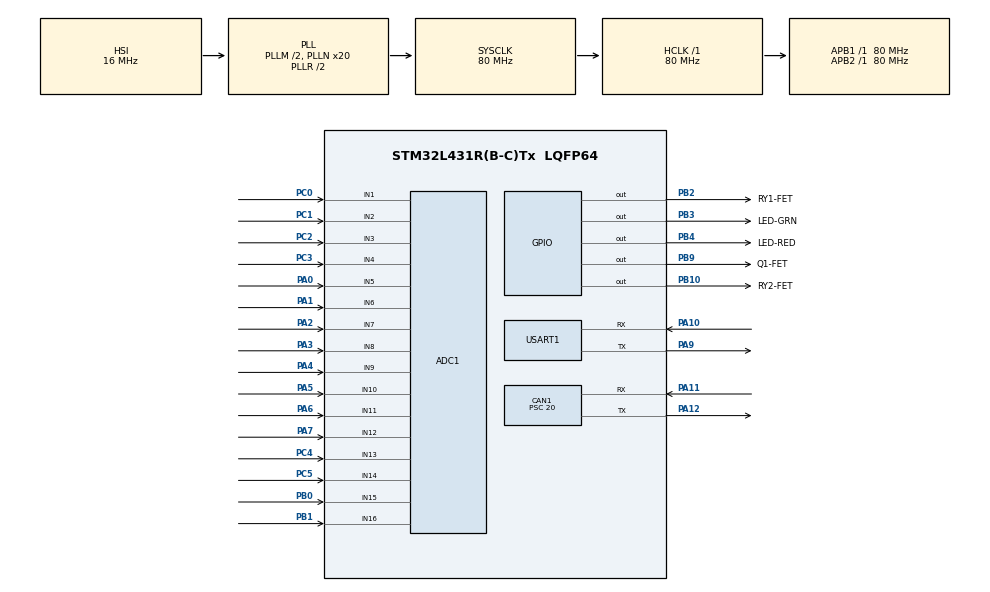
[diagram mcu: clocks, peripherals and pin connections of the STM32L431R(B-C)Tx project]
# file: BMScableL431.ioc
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ADC1.Channel-0\#ChannelRegularConversion=ADC_CHANNEL_8
ADC1.Channel-1\#ChannelRegularConversion=ADC_CHANNEL_15
ADC1.Channel-10\#ChannelRegularConversion=ADC_CHANNEL_3
ADC1.Channel-11\#ChannelRegularConversion=ADC_CHANNEL_11
ADC1.Channel-12\#ChannelRegularConversion=ADC_CHANNEL_2
ADC1.Channel-13\#ChannelRegularConversion=ADC_CHANNEL_10
ADC1.Channel-14\#ChannelRegularConversion=ADC_CHANNEL_1
ADC1.Channel-15\#ChannelRegularConversion=ADC_CHANNEL_9
ADC1.Channel-2\#ChannelRegularConversion=ADC_CHANNEL_7
ADC1.Channel-3\#ChannelRegularConversion=ADC_CHANNEL_16
ADC1.Channel-4\#ChannelRegularConversion=ADC_CHANNEL_6
ADC1.Channel-5\#ChannelRegularConversion=ADC_CHANNEL_14
ADC1.Channel-6\#ChannelRegularConversion=ADC_CHANNEL_5
ADC1.Channel-7\#ChannelRegularConversion=ADC_CHANNEL_13
ADC1.Channel-8\#ChannelRegularConversion=ADC_CHANNEL_4
ADC1.Channel-9\#ChannelRegularConversion=ADC_CHANNEL_12
ADC1.ClockPrescaler=ADC_CLOCK_ASYNC_DIV6
ADC1.ContinuousConvMode=ENABLE
ADC1.DMAContinuousRequests=ENABLE
ADC1.EOCSelection=ADC_EOC_SEQ_CONV
ADC1.EnableInjectedConversion=ENABLE
ADC1.EnableInjectedOversampling=ENABLE
ADC1.InjMonitoredBy-16\#ChannelInjectedConversion=__NULL
ADC1.InjMonitoredBy-17\#ChannelInjectedConversion=__NULL
ADC1.InjNumberOfConversion=2
ADC1.InjOversamplingRatio=ADC_OVERSAMPLING_RATIO_8
ADC1.InjectedChannel-16\#ChannelInjectedConversion=ADC_CHANNEL_VREFINT
ADC1.InjectedChannel-17\#ChannelInjectedConversion=ADC_CHANNEL_TEMPSENSOR
ADC1.InjectedConvMode=AutoInjected
ADC1.InjectedOffsetNumber-16\#ChannelInjectedConversion=ADC_OFFSET_NONE
ADC1.InjectedOffsetNumber-17\#ChannelInjectedConversion=ADC_OFFSET_NONE
ADC1.InjectedRank-16\#ChannelInjectedConversion=1
ADC1.InjectedRank-17\#ChannelInjectedConversion=2
ADC1.InjectedSamplingTime-16\#ChannelInjectedConversion=ADC_SAMPLETIME_247CYCLES_5
ADC1.InjectedSamplingTime-17\#ChannelInjectedConversion=ADC_SAMPLETIME_247CYCLES_5
ADC1.NbrOfConversion=16
ADC1.NbrOfConversionFlag=1
ADC1.OffsetNumber-0\#ChannelRegularConversion=ADC_OFFSET_NONE
ADC1.OffsetNumber-1\#ChannelRegularConversion=ADC_OFFSET_NONE
ADC1.OffsetNumber-10\#ChannelRegularConversion=ADC_OFFSET_NONE
ADC1.OffsetNumber-11\#ChannelRegularConversion=ADC_OFFSET_NONE
ADC1.OffsetNumber-12\#ChannelRegularConversion=ADC_OFFSET_NONE
ADC1.OffsetNumber-13\#ChannelRegularConversion=ADC_OFFSET_NONE
ADC1.OffsetNumber-14\#ChannelRegularConversion=ADC_OFFSET_NONE
ADC1.OffsetNumber-15\#ChannelRegularConversion=ADC_OFFSET_NONE
ADC1.OffsetNumber-2\#ChannelRegularConversion=ADC_OFFSET_NONE
ADC1.OffsetNumber-3\#ChannelRegularConversion=ADC_OFFSET_NONE
ADC1.OffsetNumber-4\#ChannelRegularConversion=ADC_OFFSET_NONE
ADC1.OffsetNumber-5\#ChannelRegularConversion=ADC_OFFSET_NONE
ADC1.OffsetNumber-6\#ChannelRegularConversion=ADC_OFFSET_NONE
ADC1.OffsetNumber-7\#ChannelRegularConversion=ADC_OFFSET_NONE
ADC1.OffsetNumber-8\#ChannelRegularConversion=ADC_OFFSET_NONE
ADC1.OffsetNumber-9\#ChannelRegularConversion=ADC_OFFSET_NONE
ADC1.OversamplingMode=ENABLE
ADC1.Rank-0\#ChannelRegularConversion=1
ADC1.Rank-1\#ChannelRegularConversion=2
ADC1.Rank-10\#ChannelRegularConversion=11
ADC1.Rank-11\#ChannelRegularConversion=12
ADC1.Rank-12\#ChannelRegularConversion=13
ADC1.Rank-13\#ChannelRegularConversion=14
ADC1.Rank-14\#ChannelRegularConversion=15
ADC1.Rank-15\#ChannelRegularConversion=16
ADC1.Rank-2\#ChannelRegularConversion=3
ADC1.Rank-3\#ChannelRegularConversion=4
ADC1.Rank-4\#ChannelRegularConversion=5
ADC1.Rank-5\#ChannelRegularConversion=6
ADC1.Rank-6\#ChannelRegularConversion=7
ADC1.Rank-7\#ChannelRegularConversion=8
ADC1.Rank-8\#ChannelRegularConversion=9
ADC1.Rank-9\#ChannelRegularConversion=10
ADC1.Rank2_Channel=ADC_CHANNEL_TEMPSENSOR
ADC1.Ratio=ADC_OVERSAMPLING_RATIO_8
ADC1.SamplingTime-0\#ChannelRegularConversion=ADC_SAMPLETIME_247CYCLES_5
ADC1.SamplingTime-1\#ChannelRegularConversion=ADC_SAMPLETIME_247CYCLES_5
ADC1.SamplingTime-10\#ChannelRegularConversion=ADC_SAMPLETIME_247CYCLES_5
ADC1.SamplingTime-11\#ChannelRegularConversion=ADC_SAMPLETIME_247CYCLES_5
ADC1.SamplingTime-12\#ChannelRegularConversion=ADC_SAMPLETIME_247CYCLES_5
ADC1.SamplingTime-13\#ChannelRegularConversion=ADC_SAMPLETIME_247CYCLES_5
ADC1.SamplingTime-14\#ChannelRegularConversion=ADC_SAMPLETIME_247CYCLES_5
ADC1.SamplingTime-15\#ChannelRegularConversion=ADC_SAMPLETIME_247CYCLES_5
ADC1.SamplingTime-2\#ChannelRegularConversion=ADC_SAMPLETIME_247CYCLES_5
ADC1.SamplingTime-3\#ChannelRegularConversion=ADC_SAMPLETIME_247CYCLES_5
ADC1.SamplingTime-4\#ChannelRegularConversion=ADC_SAMPLETIME_247CYCLES_5
ADC1.SamplingTime-5\#ChannelRegularConversion=ADC_SAMPLETIME_247CYCLES_5
ADC1.SamplingTime-6\#ChannelRegularConversion=ADC_SAMPLETIME_247CYCLES_5
ADC1.SamplingTime-7\#ChannelRegularConversion=ADC_SAMPLETIME_247CYCLES_5
ADC1.SamplingTime-8\#ChannelRegularConversion=ADC_SAMPLETIME_247CYCLES_5
ADC1.SamplingTime-9\#ChannelRegularConversion=ADC_SAMPLETIME_247CYCLES_5
ADC1.master=1
CAN1.BS1=CAN_BS1_2TQ
CAN1.BS2=CAN_BS2_5TQ
CAN1.CalculateBaudRate=500000
CAN1.CalculateTimeBit=2000.00
CAN1.CalculateTimeQuantum=250.0
CAN1.Prescaler=20
CAN1.TXFP=ENABLE
Dma.ADC1.0.Direction=DMA_PERIPH_TO_MEMORY
Dma.ADC1.0.Instance=DMA1_Channel1
Dma.ADC1.0.MemDataAlignment=DMA_MDATAALIGN_HALFWORD
Dma.ADC1.0.MemInc=DMA_MINC_ENABLE
Dma.ADC1.0.Mode=DMA_CIRCULAR
Dma.ADC1.0.PeriphDataAlignment=DMA_PDATAALIGN_HALFWORD
Dma.ADC1.0.PeriphInc=DMA_PINC_DISABLE
Dma.ADC1.0.Priority=DMA_PRIORITY_LOW
Dma.Request0=ADC1
Dma.Request1=USART1_RX
Dma.Request2=USART1_TX
Dma.USART1_RX.1.Direction=DMA_PERIPH_TO_MEMORY
Dma.USART1_RX.1.Instance=DMA1_Channel5
Dma.USART1_RX.1.MemDataAlignment=DMA_MDATAALIGN_BYTE
Dma.USART1_RX.1.MemInc=DMA_MINC_ENABLE
Dma.USART1_RX.1.Mode=DMA_CIRCULAR
Dma.USART1_RX.1.PeriphDataAlignment=DMA_PDATAALIGN_BYTE
Dma.USART1_RX.1.PeriphInc=DMA_PINC_DISABLE
Dma.USART1_RX.1.Priority=DMA_PRIORITY_LOW
Dma.USART1_TX.2.Direction=DMA_MEMORY_TO_PERIPH
Dma.USART1_TX.2.Instance=DMA1_Channel4
Dma.USART1_TX.2.MemDataAlignment=DMA_MDATAALIGN_BYTE
Dma.USART1_TX.2.MemInc=DMA_MINC_ENABLE
Dma.USART1_TX.2.Mode=DMA_NORMAL
Dma.USART1_TX.2.PeriphDataAlignment=DMA_PDATAALIGN_BYTE
Dma.USART1_TX.2.PeriphInc=DMA_PINC_DISABLE
Dma.USART1_TX.2.Priority=DMA_PRIORITY_LOW
FREERTOS.HEAP_NUMBER=3
FREERTOS.INCLUDE_xEventGroupSetBitFromISR=1
FREERTOS.Tasks01=defaultTask,24,384,StartDefaultTask,Default,NULL,Dynamic,NULL,NULL
FREERTOS.configCHECK_FOR_STACK_OVERFLOW=0
FREERTOS.configENABLE_FPU=1
FREERTOS.configMAX_TASK_NAME_LEN=32
FREERTOS.configRECORD_STACK_HIGH_ADDRESS=1
FREERTOS.configTOTAL_HEAP_SIZE=16384
FREERTOS.configUSE_NEWLIB_REENTRANT=1
Mcu.Family=STM32L4
Mcu.Name=STM32L431R(B-C)Tx
Mcu.Package=LQFP64
NVIC.ADC1_IRQn=true\:5\:0\:false\:false\:true\:true\:true\:true
NVIC.DMA1_Channel1_IRQn=true\:5\:0\:false\:false\:true\:true\:false\:true
NVIC.DMA1_Channel4_IRQn=true\:5\:0\:false\:false\:true\:true\:false\:true
NVIC.DMA1_Channel5_IRQn=true\:5\:0\:false\:false\:true\:true\:false\:true
NVIC.PriorityGroup=NVIC_PRIORITYGROUP_4
NVIC.TIM1_BRK_TIM15_IRQn=true\:15\:0\:false\:false\:true\:false\:false\:true
NVIC.TimeBase=TIM1_BRK_TIM15_IRQn
NVIC.TimeBaseIP=TIM15
NVIC.USART1_IRQn=true\:5\:0\:false\:false\:true\:true\:true\:true
PA0.Signal=ADCx_IN5
PA1.Signal=ADCx_IN6
PA10.Mode=Asynchronous
PA10.Signal=USART1_RX
PA11.Mode=CAN_Activate
PA11.Signal=CAN1_RX
PA12.Mode=CAN_Activate
PA12.Signal=CAN1_TX
PA13\ (JTMS-SWDIO).Mode=Serial_Wire
PA13\ (JTMS-SWDIO).Signal=SYS_JTMS-SWDIO
PA14\ (JTCK-SWCLK).Mode=Serial_Wire
PA14\ (JTCK-SWCLK).Signal=SYS_JTCK-SWCLK
PA2.Signal=ADCx_IN7
PA3.Signal=ADCx_IN8
PA4.Signal=ADCx_IN9
PA5.Signal=ADCx_IN10
PA6.Signal=ADCx_IN11
PA7.Signal=ADCx_IN12
PA9.Mode=Asynchronous
PA9.Signal=USART1_TX
PB0.Signal=ADCx_IN15
PB1.Signal=ADCx_IN16
PB10.GPIO_Label=RY2-FET
PB10.Signal=GPIO_Output
PB2.GPIO_Label=RY1-FET
PB2.Signal=GPIO_Output
PB3\ (JTDO-TRACESWO).GPIO_Label=LED-GRN
PB3\ (JTDO-TRACESWO).Signal=GPIO_Output
PB4\ (NJTRST).GPIO_Label=LED-RED
PB4\ (NJTRST).Signal=GPIO_Output
PB9.GPIO_Label=Q1-FET
PB9.Signal=GPIO_Output
PC0.Signal=ADCx_IN1
PC1.Signal=ADCx_IN2
PC2.Signal=ADCx_IN3
PC3.Signal=ADCx_IN4
PC4.Signal=ADCx_IN13
PC5.Signal=ADCx_IN14
ProjectManager.HeapSize=0x200
ProjectManager.StackSize=0x400
ProjectManager.TargetToolchain=Makefile
RCC.ADCCLockSelection=RCC_ADCCLKSOURCE_SYSCLK
RCC.ADCFreq_Value=80000000
RCC.AHBFreq_Value=80000000
RCC.APB1Freq_Value=80000000
RCC.APB1TimFreq_Value=80000000
RCC.APB2Freq_Value=80000000
RCC.APB2TimFreq_Value=80000000
RCC.CortexFreq_Value=80000000
RCC.HCLKFreq_Value=80000000
RCC.HSE_VALUE=8000000
RCC.HSI48_VALUE=48000000
RCC.HSI_VALUE=16000000
RCC.LSE_VALUE=32768
RCC.MSI_VALUE=4000000
RCC.PLLM=2
RCC.PLLN=20
RCC.PLLSourceVirtual=RCC_PLLSOURCE_HSI
RCC.SYSCLKFreq_VALUE=80000000
RCC.SYSCLKSource=RCC_SYSCLKSOURCE_PLLCLK
RCC.VCOOutputFreq_Value=160000000
SH.ADCx_IN1.0=ADC1_IN1,IN1-Single-Ended
SH.ADCx_IN10.0=ADC1_IN10,IN10-Single-Ended
SH.ADCx_IN11.0=ADC1_IN11,IN11-Single-Ended
SH.ADCx_IN12.0=ADC1_IN12,IN12-Single-Ended
SH.ADCx_IN13.0=ADC1_IN13,IN13-Single-Ended
SH.ADCx_IN14.0=ADC1_IN14,IN14-Single-Ended
SH.ADCx_IN15.0=ADC1_IN15,IN15-Single-Ended
SH.ADCx_IN16.0=ADC1_IN16,IN16-Single-Ended
SH.ADCx_IN2.0=ADC1_IN2,IN2-Single-Ended
SH.ADCx_IN3.0=ADC1_IN3,IN3-Single-Ended
SH.ADCx_IN4.0=ADC1_IN4,IN4-Single-Ended
SH.ADCx_IN5.0=ADC1_IN5,IN5-Single-Ended
SH.ADCx_IN6.0=ADC1_IN6,IN6-Single-Ended
SH.ADCx_IN7.0=ADC1_IN7,IN7-Single-Ended
SH.ADCx_IN8.0=ADC1_IN8,IN8-Single-Ended
SH.ADCx_IN9.0=ADC1_IN9,IN9-Single-Ended
USART1.VirtualMode-Asynchronous=VM_ASYNC
VP_ADC1_TempSens_Input.Mode=IN-TempSens
VP_ADC1_Vref_Input.Mode=IN-Vrefint
VP_FREERTOS_VS_CMSIS_V2.Mode=CMSIS_V2
VP_SYS_VS_tim15.Mode=TIM15
board=custom

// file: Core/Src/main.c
/* USER CODE BEGIN Header */
/**
  ******************************************************************************
  * @file           : main.c
  * @brief          : Main program body
  ******************************************************************************
  * @attention
  *
  * <h2><center>&copy; Copyright (c) 2021 STMicroelectronics.
  * All rights reserved.</center></h2>
  *
  * This software component is licensed by ST under Ultimate Liberty license
  * SLA0044, the "License"; You may not use this file except in compliance with
  * the License. You may obtain a copy of the License at:
  *                             www.st.com/SLA0044
  *
  ******************************************************************************
  */
/* USER CODE END Header */
#include "main.h"
#include "cmsis_os.h"

/* USER CODE BEGIN Includes */
#include <string.h>
#include "SerialTaskSend.h"
#include "getserialbuf.h"
#include "stackwatermark.h"
#include "yprintf.h"
#include "DTW_counter.h"
#include "SerialTaskReceive.h"
#include "yscanf.h"
#include "morse.h"

#include "FreeRTOS.h"
#include "semphr.h"

#include "adcparams.h"
#include "ADCTask.h"

/* USER CODE END Includes */

ADC_HandleTypeDef hadc1;
DMA_HandleTypeDef hdma_adc1;

CAN_HandleTypeDef hcan1;

UART_HandleTypeDef huart1;
DMA_HandleTypeDef hdma_usart1_rx;
DMA_HandleTypeDef hdma_usart1_tx;

/* Definitions for defaultTask */
osThreadId_t defaultTaskHandle;
const osThreadAttr_t defaultTask_attributes = {
  .name = "defaultTask",
  .stack_size = 384 * 4,
  .priority = (osPriority_t) osPriorityNormal,
};

void SystemClock_Config(void);
static void MX_GPIO_Init(void);
static void MX_DMA_Init(void);
static void MX_ADC1_Init(void);
static void MX_USART1_UART_Init(void);
static void MX_CAN1_Init(void);
void StartDefaultTask(void *argument);

int main(void)
{
  /* USER CODE BEGIN 1 */
  BaseType_t ret;    // Used for returns from function calls
  //osMessageQId Qidret; // Function call return
  osThreadId Thrdret;  // Return from thread create
  /* USER CODE END 1 */

  /* MCU Configuration--------------------------------------------------------*/

  /* Reset of all peripherals, Initializes the Flash interface and the Systick. */
  HAL_Init();

  /* USER CODE BEGIN Init */
  DTW_counter_init();
  /* USER CODE END Init */

  /* Configure the system clock */
  SystemClock_Config();

  /* USER CODE BEGIN SysInit */
/* Add bcb circular buffer to SerialTaskSend for usart1 -- PC monitor */
  #define NUMCIRBCB1  16 // Size of circular buffer of BCB for usart3
  ret = xSerialTaskSendAdd(&HUARTMON, NUMCIRBCB1, 1); // dma
  if (ret < 0) morse_trap(111); // Panic LED flashing
  /* USER CODE END SysInit */

  /* Initialize all configured peripherals */
  MX_GPIO_Init();
  MX_DMA_Init();
  MX_ADC1_Init();
  MX_USART1_UART_Init();
  MX_CAN1_Init();
  /* USER CODE BEGIN 2 */

  // Turn LEDs OFF
  HAL_GPIO_WritePin(GPIOB, GPIO_PIN_3|GPIO_PIN_4, GPIO_PIN_SET);

  /* USER CODE END 2 */

  /* Init scheduler */
  osKernelInitialize();

  /* USER CODE BEGIN RTOS_TIMERS */
  /* start timers, add new ones, ... */

  /* ADC summing, calibration, etc. */

  /* Setup semaphore for yprint and sprintf et al. */
  yprintf_init();

  /* USER CODE END RTOS_TIMERS */

  /* Create the thread(s) */
  /* creation of defaultTask */
  defaultTaskHandle = osThreadNew(StartDefaultTask, NULL, &defaultTask_attributes);

  /* USER CODE BEGIN RTOS_THREADS */
  /* add threads, ... */
   Thrdret = xADCTaskCreate(1); // (arg) = priority
  if (Thrdret == NULL) morse_trap(117);

  /* Create serial task (priority) */
  // Task handle "osThreadId SerialTaskHandle" is global
  Thrdret = xSerialTaskSendCreate(osPriorityNormal); // Create task and set Task priority
  if (Thrdret == NULL) morse_trap(112);

  /* Create serial receiving task. */
  ret = xSerialTaskReceiveCreate(osPriorityNormal);
  if (ret != pdPASS) morse_trap(113);
  /* USER CODE END RTOS_THREADS */

  /* Start scheduler */
  osKernelStart();

  /* We should never get here as control is now taken by the scheduler */
  /* Infinite loop */
  while (1)
  {

  }
}

void SystemClock_Config(void)
{
  RCC_OscInitTypeDef RCC_OscInitStruct = {0};
  RCC_ClkInitTypeDef RCC_ClkInitStruct = {0};

  /** Configure the main internal regulator output voltage
  */
  if (HAL_PWREx_ControlVoltageScaling(PWR_REGULATOR_VOLTAGE_SCALE1) != HAL_OK)
  {
    Error_Handler();
  }
  /** Initializes the RCC Oscillators according to the specified parameters
  * in the RCC_OscInitTypeDef structure.
  */
  RCC_OscInitStruct.OscillatorType = RCC_OSCILLATORTYPE_HSI;
  RCC_OscInitStruct.HSIState = RCC_HSI_ON;
  RCC_OscInitStruct.HSICalibrationValue = RCC_HSICALIBRATION_DEFAULT;
  RCC_OscInitStruct.PLL.PLLState = RCC_PLL_ON;
  RCC_OscInitStruct.PLL.PLLSource = RCC_PLLSOURCE_HSI;
  RCC_OscInitStruct.PLL.PLLM = 2;
  RCC_OscInitStruct.PLL.PLLN = 20;
  RCC_OscInitStruct.PLL.PLLP = RCC_PLLP_DIV7;
  RCC_OscInitStruct.PLL.PLLQ = RCC_PLLQ_DIV2;
  RCC_OscInitStruct.PLL.PLLR = RCC_PLLR_DIV2;
  if (HAL_RCC_OscConfig(&RCC_OscInitStruct) != HAL_OK)
  {
    Error_Handler();
  }
  /** Initializes the CPU, AHB and APB buses clocks
  */
  RCC_ClkInitStruct.ClockType = RCC_CLOCKTYPE_HCLK|RCC_CLOCKTYPE_SYSCLK
                              |RCC_CLOCKTYPE_PCLK1|RCC_CLOCKTYPE_PCLK2;
  RCC_ClkInitStruct.SYSCLKSource = RCC_SYSCLKSOURCE_PLLCLK;
  RCC_ClkInitStruct.AHBCLKDivider = RCC_SYSCLK_DIV1;
  RCC_ClkInitStruct.APB1CLKDivider = RCC_HCLK_DIV1;
  RCC_ClkInitStruct.APB2CLKDivider = RCC_HCLK_DIV1;

  if (HAL_RCC_ClockConfig(&RCC_ClkInitStruct, FLASH_LATENCY_4) != HAL_OK)
  {
    Error_Handler();
  }
}

static void MX_ADC1_Init(void)
{

  ADC_ChannelConfTypeDef sConfig = {0};
  ADC_InjectionConfTypeDef sConfigInjected = {0};

  /** Common config
  */
  hadc1.Instance = ADC1;
  hadc1.Init.ClockPrescaler = ADC_CLOCK_ASYNC_DIV6;
  hadc1.Init.Resolution = ADC_RESOLUTION_12B;
  hadc1.Init.DataAlign = ADC_DATAALIGN_RIGHT;
  hadc1.Init.ScanConvMode = ADC_SCAN_ENABLE;
  hadc1.Init.EOCSelection = ADC_EOC_SEQ_CONV;
  hadc1.Init.LowPowerAutoWait = DISABLE;
  hadc1.Init.ContinuousConvMode = ENABLE;
  hadc1.Init.NbrOfConversion = 16;
  hadc1.Init.DiscontinuousConvMode = DISABLE;
  hadc1.Init.ExternalTrigConv = ADC_SOFTWARE_START;
  hadc1.Init.ExternalTrigConvEdge = ADC_EXTERNALTRIGCONVEDGE_NONE;
  hadc1.Init.DMAContinuousRequests = ENABLE;
  hadc1.Init.Overrun = ADC_OVR_DATA_PRESERVED;
  hadc1.Init.OversamplingMode = ENABLE;
  hadc1.Init.Oversampling.Ratio = ADC_OVERSAMPLING_RATIO_8;
  hadc1.Init.Oversampling.RightBitShift = ADC_RIGHTBITSHIFT_NONE;
  hadc1.Init.Oversampling.TriggeredMode = ADC_TRIGGEREDMODE_SINGLE_TRIGGER;
  hadc1.Init.Oversampling.OversamplingStopReset = ADC_REGOVERSAMPLING_RESUMED_MODE;
  if (HAL_ADC_Init(&hadc1) != HAL_OK)
  {
    Error_Handler();
  }
  /** Disable Injected Queue
  */
  HAL_ADCEx_DisableInjectedQueue(&hadc1);
  /** Configure Regular Channel
  */
  sConfig.Channel = ADC_CHANNEL_8;
  sConfig.Rank = ADC_REGULAR_RANK_1;
  sConfig.SamplingTime = ADC_SAMPLETIME_247CYCLES_5;
  sConfig.SingleDiff = ADC_SINGLE_ENDED;
  sConfig.OffsetNumber = ADC_OFFSET_NONE;
  sConfig.Offset = 0;
  if (HAL_ADC_ConfigChannel(&hadc1, &sConfig) != HAL_OK)
  {
    Error_Handler();
  }
  /** Configure Regular Channel
  */
  sConfig.Channel = ADC_CHANNEL_15;
  sConfig.Rank = ADC_REGULAR_RANK_2;
  if (HAL_ADC_ConfigChannel(&hadc1, &sConfig) != HAL_OK)
  {
    Error_Handler();
  }
  /** Configure Regular Channel
  */
  sConfig.Channel = ADC_CHANNEL_7;
  sConfig.Rank = ADC_REGULAR_RANK_3;
  if (HAL_ADC_ConfigChannel(&hadc1, &sConfig) != HAL_OK)
  {
    Error_Handler();
  }
  /** Configure Regular Channel
  */
  sConfig.Channel = ADC_CHANNEL_16;
  sConfig.Rank = ADC_REGULAR_RANK_4;
  if (HAL_ADC_ConfigChannel(&hadc1, &sConfig) != HAL_OK)
  {
    Error_Handler();
  }
  /** Configure Regular Channel
  */
  sConfig.Channel = ADC_CHANNEL_6;
  sConfig.Rank = ADC_REGULAR_RANK_5;
  if (HAL_ADC_ConfigChannel(&hadc1, &sConfig) != HAL_OK)
  {
    Error_Handler();
  }
  /** Configure Regular Channel
  */
  sConfig.Channel = ADC_CHANNEL_14;
  sConfig.Rank = ADC_REGULAR_RANK_6;
  if (HAL_ADC_ConfigChannel(&hadc1, &sConfig) != HAL_OK)
  {
    Error_Handler();
  }
  /** Configure Regular Channel
  */
  sConfig.Channel = ADC_CHANNEL_5;
  sConfig.Rank = ADC_REGULAR_RANK_7;
  if (HAL_ADC_ConfigChannel(&hadc1, &sConfig) != HAL_OK)
  {
    Error_Handler();
  }
  /** Configure Regular Channel
  */
  sConfig.Channel = ADC_CHANNEL_13;
  sConfig.Rank = ADC_REGULAR_RANK_8;
  if (HAL_ADC_ConfigChannel(&hadc1, &sConfig) != HAL_OK)
  {
    Error_Handler();
  }
  /** Configure Regular Channel
  */
  sConfig.Channel = ADC_CHANNEL_4;
  sConfig.Rank = ADC_REGULAR_RANK_9;
  if (HAL_ADC_ConfigChannel(&hadc1, &sConfig) != HAL_OK)
  {
    Error_Handler();
  }
  /** Configure Regular Channel
  */
  sConfig.Channel = ADC_CHANNEL_12;
  sConfig.Rank = ADC_REGULAR_RANK_10;
  if (HAL_ADC_ConfigChannel(&hadc1, &sConfig) != HAL_OK)
  {
    Error_Handler();
  }
  /** Configure Regular Channel
  */
  sConfig.Channel = ADC_CHANNEL_3;
  sConfig.Rank = ADC_REGULAR_RANK_11;
  if (HAL_ADC_ConfigChannel(&hadc1, &sConfig) != HAL_OK)
  {
    Error_Handler();
  }
  /** Configure Regular Channel
  */
  sConfig.Channel = ADC_CHANNEL_11;
  sConfig.Rank = ADC_REGULAR_RANK_12;
  if (HAL_ADC_ConfigChannel(&hadc1, &sConfig) != HAL_OK)
  {
    Error_Handler();
  }
  /** Configure Regular Channel
  */
  sConfig.Channel = ADC_CHANNEL_2;
  sConfig.Rank = ADC_REGULAR_RANK_13;
  if (HAL_ADC_ConfigChannel(&hadc1, &sConfig) != HAL_OK)
  {
    Error_Handler();
  }
  /** Configure Regular Channel
  */
  sConfig.Channel = ADC_CHANNEL_10;
  sConfig.Rank = ADC_REGULAR_RANK_14;
  if (HAL_ADC_ConfigChannel(&hadc1, &sConfig) != HAL_OK)
  {
    Error_Handler();
  }
  /** Configure Regular Channel
  */
  sConfig.Channel = ADC_CHANNEL_1;
  sConfig.Rank = ADC_REGULAR_RANK_15;
  if (HAL_ADC_ConfigChannel(&hadc1, &sConfig) != HAL_OK)
  {
    Error_Handler();
  }
  /** Configure Regular Channel
  */
  sConfig.Channel = ADC_CHANNEL_9;
  sConfig.Rank = ADC_REGULAR_RANK_16;
  if (HAL_ADC_ConfigChannel(&hadc1, &sConfig) != HAL_OK)
  {
    Error_Handler();
  }
  /** Configure Injected Channel
  */
  sConfigInjected.InjectedChannel = ADC_CHANNEL_VREFINT;
  sConfigInjected.InjectedRank = ADC_INJECTED_RANK_1;
  sConfigInjected.InjectedSamplingTime = ADC_SAMPLETIME_247CYCLES_5;
  sConfigInjected.InjectedSingleDiff = ADC_SINGLE_ENDED;
  sConfigInjected.InjectedOffsetNumber = ADC_OFFSET_NONE;
  sConfigInjected.InjectedOffset = 0;
  sConfigInjected.InjectedNbrOfConversion = 2;
  sConfigInjected.InjectedDiscontinuousConvMode = DISABLE;
  sConfigInjected.AutoInjectedConv = ENABLE;
  sConfigInjected.QueueInjectedContext = DISABLE;
  sConfigInjected.ExternalTrigInjecConv = ADC_INJECTED_SOFTWARE_START;
  sConfigInjected.ExternalTrigInjecConvEdge = ADC_EXTERNALTRIGINJECCONV_EDGE_NONE;
  sConfigInjected.InjecOversamplingMode = ENABLE;
  sConfigInjected.InjecOversampling.Ratio = ADC_OVERSAMPLING_RATIO_8;
  sConfigInjected.InjecOversampling.RightBitShift = ADC_RIGHTBITSHIFT_NONE;
  if (HAL_ADCEx_InjectedConfigChannel(&hadc1, &sConfigInjected) != HAL_OK)
  {
    Error_Handler();
  }
  /** Configure Injected Channel
  */
  sConfigInjected.InjectedChannel = ADC_CHANNEL_TEMPSENSOR;
  sConfigInjected.InjectedRank = ADC_INJECTED_RANK_2;
  if (HAL_ADCEx_InjectedConfigChannel(&hadc1, &sConfigInjected) != HAL_OK)
  {
    Error_Handler();
  }

}

static void MX_CAN1_Init(void)
{

  hcan1.Instance = CAN1;
  hcan1.Init.Prescaler = 20;
  hcan1.Init.Mode = CAN_MODE_NORMAL;
  hcan1.Init.SyncJumpWidth = CAN_SJW_1TQ;
  hcan1.Init.TimeSeg1 = CAN_BS1_2TQ;
  hcan1.Init.TimeSeg2 = CAN_BS2_5TQ;
  hcan1.Init.TimeTriggeredMode = DISABLE;
  hcan1.Init.AutoBusOff = DISABLE;
  hcan1.Init.AutoWakeUp = DISABLE;
  hcan1.Init.AutoRetransmission = DISABLE;
  hcan1.Init.ReceiveFifoLocked = DISABLE;
  hcan1.Init.TransmitFifoPriority = ENABLE;
  if (HAL_CAN_Init(&hcan1) != HAL_OK)
  {
    Error_Handler();
  }

}

static void MX_USART1_UART_Init(void)
{

  huart1.Instance = USART1;
  huart1.Init.BaudRate = 115200;
  huart1.Init.WordLength = UART_WORDLENGTH_8B;
  huart1.Init.StopBits = UART_STOPBITS_1;
  huart1.Init.Parity = UART_PARITY_NONE;
  huart1.Init.Mode = UART_MODE_TX_RX;
  huart1.Init.HwFlowCtl = UART_HWCONTROL_NONE;
  huart1.Init.OverSampling = UART_OVERSAMPLING_16;
  huart1.Init.OneBitSampling = UART_ONE_BIT_SAMPLE_DISABLE;
  huart1.AdvancedInit.AdvFeatureInit = UART_ADVFEATURE_NO_INIT;
  if (HAL_UART_Init(&huart1) != HAL_OK)
  {
    Error_Handler();
  }

}

static void MX_DMA_Init(void)
{

  /* DMA controller clock enable */
  __HAL_RCC_DMA1_CLK_ENABLE();

  /* DMA interrupt init */
  /* DMA1_Channel1_IRQn interrupt configuration */
  HAL_NVIC_SetPriority(DMA1_Channel1_IRQn, 5, 0);
  HAL_NVIC_EnableIRQ(DMA1_Channel1_IRQn);
  /* DMA1_Channel4_IRQn interrupt configuration */
  HAL_NVIC_SetPriority(DMA1_Channel4_IRQn, 5, 0);
  HAL_NVIC_EnableIRQ(DMA1_Channel4_IRQn);
  /* DMA1_Channel5_IRQn interrupt configuration */
  HAL_NVIC_SetPriority(DMA1_Channel5_IRQn, 5, 0);
  HAL_NVIC_EnableIRQ(DMA1_Channel5_IRQn);

}

static void MX_GPIO_Init(void)
{
  GPIO_InitTypeDef GPIO_InitStruct = {0};

  /* GPIO Ports Clock Enable */
  __HAL_RCC_GPIOC_CLK_ENABLE();
  __HAL_RCC_GPIOA_CLK_ENABLE();
  __HAL_RCC_GPIOB_CLK_ENABLE();

  /*Configure GPIO pin Output Level */
  HAL_GPIO_WritePin(GPIOB, RY1_FET_Pin|RY2_FET_Pin|LED_GRN_Pin|LED_RED_Pin
                          |Q1_FET_Pin, GPIO_PIN_RESET);

  /*Configure GPIO pins : RY1_FET_Pin RY2_FET_Pin LED_GRN_Pin LED_RED_Pin
                           Q1_FET_Pin */
  GPIO_InitStruct.Pin = RY1_FET_Pin|RY2_FET_Pin|LED_GRN_Pin|LED_RED_Pin
                          |Q1_FET_Pin;
  GPIO_InitStruct.Mode = GPIO_MODE_OUTPUT_PP;
  GPIO_InitStruct.Pull = GPIO_NOPULL;
  GPIO_InitStruct.Speed = GPIO_SPEED_FREQ_LOW;
  HAL_GPIO_Init(GPIOB, &GPIO_InitStruct);

}

/* USER CODE BEGIN Header_StartDefaultTask */
/**
  * @brief  Function implementing the defaultTask thread.
  * @param  argument: Not used
  * @retval None
  */
uint32_t mctr = 0; // Debugging counter
uint32_t lctr = 20;
uint32_t ratectr = 0;
uint16_t* pjdr1 = (uint16_t*)(0x50040000 + 0x80); // Vrefint
uint16_t* pjdr2 = (uint16_t*)(0x50040000 + 0x80 + 0x04); // Vtemp
uint8_t diff = 0; // yprintf switch lines
uint8_t fet = 0;

/* Ribbon assignments of battery cable for use with BMSCable adaptor
ribboncolorR = ribbon color sequence reversed from standard cables
ribboncolorS = ribbon color sequence standard
pinnumberB   = IDC connector pin for battery cable (02/2022) */
char* ribboncolorR= "WHT     GRY     GRY     PUR     PUR     BLU     BLU     GRN     GRN     YEL     YEL     ORG     ORG     RED     RED     BRN    BRN    BLK";
char* ribboncolorS= "RED     ORG     ORG     YEL     YEL     GRN     GRN     BLU     BLU     PUR     PUR     GRY     GRY     WHT     WHT     BLK    BLK    BRN";
char* pinnumberB  = "12       3      13       4      14       5      15       6      16       7      17       8      18       9      19      10      20     11";
char* cellnumberB = " 1       2       3       4       5       6       7       8       9      10      11      12      13      14      15      16      17     18";

/* BQ ribbon assignment. */
char* ribboncolor = "GRY     BLU     PUR     GRN     BLU     YEL     GRN     ORG     YEL     RED     ORG     BRN     RED     BLK     BRN     WHT";
char* pinnumber   = "13       5      14       6      15       7      16       8      17       9      18      10      19      11      20      12 ";
char* cellnumber  = " 1       2       3       4       5       6       7       8       9      10      11      12      13      14      15      16 ";

char* test = "Quick Brown fox jumped over the lazy dogs back 0123456789\n\r";

/* USER CODE END Header_StartDefaultTask */
void StartDefaultTask(void *argument)
{
  /* USER CODE BEGIN 5 */
  uint32_t noteval = 0; // TaskNotifyWait notification word
  uint32_t notectr = 0; // Running count of notifications
  uint32_t notelim = 0; // Wait for notectr
  uint8_t state    = 0; // State machine sequence
//  uint8_t ledseq   = 0;

  struct SERIALSENDTASKBCB* pbuf1 = getserialbuf(&HUARTMON,256);
  if (pbuf1 == NULL) morse_trap(115);
  struct SERIALSENDTASKBCB* pbuf2 = getserialbuf(&HUARTMON,256);
  if (pbuf2 == NULL) morse_trap(116);

  yprintf(&pbuf1,"\n\rBegin %d",mctr++);

    HAL_GPIO_TogglePin(GPIOB,GPIO_PIN_3); // GRN LED
  /* Infinite loop */
  for(;;)
  {

    /* Wait for ADC new adc data (ADCTask.c) */
    xTaskNotifyWait(0,0xffffffff, &noteval, portMAX_DELAY);

   if (noteval & DEFAULTTASKBIT00)
   {
    notectr += 1;  // Running count of notifications

    /* Make monitor update rate reasonable. */
    ratectr += 1;
    if (ratectr < 2) continue;
    ratectr = 0;

    HAL_GPIO_TogglePin(GPIOB,GPIO_PIN_3); // GRN LED

    /* Index for just completed DMA buffer half. */
    uint8_t idxsum = adcsumidx ^ 1;
    float*   pfsum = &adcsumfilt[idxsum][0];
// STATES ------------------------------------------------------
#define RELAYDELAY 4
    switch (state)
    {
    case 0:
      lctr += 1; // Line counter for header
//HAL_GPIO_WritePin(GPIOB,GPIO_PIN_2 | GPIO_PIN_10,GPIO_PIN_RESET);
//#define SUMMEDINTEGER
#ifdef  SUMMEDINTEGER
     uint32_t* psum = &adcsumdb[idxsum][0];
      if (lctr >= 8)
      {
        lctr = 0;
        yprintf(&pbuf1,"\n\rR%4u:",(adcommon.dmact - mctr));
        for (int i = 0; i < 16; i++)
        {
          yprintf(&pbuf1," %6u",(i+1));
        }
      }

      yprintf(&pbuf1,"\n\rI   :");
      for (int i = 0; i < 16; i++)
      {
        yprintf(&pbuf1," %6u",*(psum + i) );
      }
      mctr = adcommon.dmact;
#else
// Calibrated

      float fprev = 0;
      float ftmp = 0;
      char* er;
      char* erhi = "HI";
      char* erlo = "LO";
      char* erno = "  ";
      char* erpack;
      char* erpackhi = "TOTALHI";
      char* erpackok = "TOTALOK";
      char* fetstatus;
      char* fetstatusoff = "FET OFF";
      char* fetstatuson  = "FET ON";

      extern uint32_t dwtdiff;

      // Status line and column header
      if (*(pfsum + 15) > adc1.lc.flim_packhi)
      { // total voltage exceeds limit
        erpack = erpackhi;
        fet = 0; // Turn off external charger
      }
      else
      { // Total voltage not too high
        erpack = erpackok;
        fet = 1; // This may be turned off by the cell check
      }
      yprintf(&pbuf2,"\n\r\n%5d %s\n\r   ",dwtdiff,erpack);

      /* Header depends on adaptor, and battery box. */
    #define SIXTEENBOX
    #ifdef  SIXTEENBOX
      yprintf(&pbuf2,"\n\rPIN#   %s",pinnumberB);
      yprintf(&pbuf1,"\n\rREVRSE %s\n\r",ribboncolorR);
      yprintf(&pbuf1,"STNDRD %s\n\rCELL# ",ribboncolorS);
    #else
      yprintf(&pbuf2,"\n\rPIN#  %s",pinnumber);
      yprintf(&pbuf1,"\n\rCOLOR%s\n\rCELL",ribboncolor);
    #endif

      fprev = 0;
      for (int i = 0; i < 16; i++)
      {
        ftmp = *(pfsum + i) - fprev; // Individual cell volts
        er = erno; // default to no error
        if (ftmp > adc1.lc.flim_cellhi)
        { // Cell exceeds limit
          er = erhi;
          fet = 0; // Turn off external charger
        }
        else if (ftmp < adc1.lc.flim_celllo)
        { // Cell too low for standard charge current
          er = erlo;
          fet = 0; // Turn off external charger
        }
        if (i == 0)
          yprintf(&pbuf2,"%3i %s",i+1,er);
        else
          yprintf(&pbuf2,"%5i %s",i+1,er);
        fprev = *(pfsum + i);
      }

      // Individual cells: Differences
      yprintf(&pbuf1,"\n\rD: ");
      fprev = 0;
      for (int i = 0; i < 16; i++)
      {
        yprintf(&pbuf1,"%7.4f ",*(pfsum + i) - fprev);
        fprev = *(pfsum + i);
      }

      // Battery string taps: ground-to-cell voltage
      yprintf(&pbuf1,"\n\rN:");
      for (int i = 0; i < 16; i++)
      {
        yprintf(&pbuf1,"%7.4f ",*(pfsum + i));
      }
      mctr = adcommon.dmact;

      // FET for external charger update
      if (fet == 0)
        fetstatus = fetstatusoff;
      else
        fetstatus = fetstatuson;

      // RED led on when external charger fet ON
      HAL_GPIO_WritePin(GPIOB,GPIO_PIN_9,fet); // FET drive
      HAL_GPIO_WritePin(GPIOB,GPIO_PIN_4,(fet ^ 1)); // RED led

      yprintf(&pbuf2,"\n\rSTATUS: %s",fetstatus);

      // Vref and Vtemp registers
      yprintf(&pbuf1," :   Vref %6u Vtemp %u",*pjdr1, *(pjdr1+2));
#endif
      notelim = notectr + RELAYDELAY;

 #define CHECKRELAYEDWIRES
  #ifndef CHECKRELAYEDWIRES
      HAL_GPIO_WritePin(GPIOB,GPIO_PIN_2 | GPIO_PIN_10,GPIO_PIN_RESET);
      notelim = notectr + RELAYDELAY;
      state = 2; // Do the delay, then continue w/o relay wire check
      break;
  #else
      state = 1;
      // Turn fets and relays ON to switch ADC inputs
      HAL_GPIO_WritePin(GPIOB,GPIO_PIN_2 | GPIO_PIN_10,GPIO_PIN_SET);
     /* No break: FALL THRU */
  #endif

    case 1: // Wait out delay for readings to stabilize
      if ((int)(notectr - notelim) < 0) break;

      // Here, sufficient delay to use readings
      yprintf(&pbuf1,"\n\rZ:");

      state = 2;
yprintf(&pbuf1,"\n\rR:");
 for (int i = 0; i < 16; i++)
 {
   yprintf(&pbuf1,"%7.4f ",*(pfsum + i));
 }
      yprintf(&pbuf1,"\n\rW :");

      /* Current sense wire. */
      uint8_t cx = 3;
        if (*(pfsum + cx) > adc1.lc.flim_relayhi) // Relay switched wire: greater than = Open
        { // Here, wire must be connected to some CELL and not ground
          yprintf(&pbuf2," %s %s %0.3f","CUR SENSE","WRONG",*(pfsum + cx));
        }
        else if (*(pfsum + cx) < adc1.lc.flim_relaylo) // Relay switched wire: less than = OK
        { // Here, wire shows small or no voltage, hence continuity.
          yprintf(&pbuf2," %s %s %0.3f","CUR SENSE","GOOD",*(pfsum + cx));
        } // Here, input pin not connected to anything
        else
          yprintf(&pbuf2," %s %s %0.3f","CUR SENSE","OPEN",*(pfsum + cx));

      /* Cell #17: pin/adc value; difference #17-#16. */
      yprintf(&pbuf2,"\n\r Pin 20: %7.4f  Cell #17: %7.4f",*(pfsum + 5),*(pfsum + 5) - *(pfsum + 15) );

      /* Cell #18: pin/adc value; difference #18-#17. */
      yprintf(&pbuf2,"\n\r Pin 11: %7.4f  Cell #18: %7.4f",*(pfsum + 3),*(pfsum + 3) - *(pfsum + 5) );

      // Turn fets and relays OFF to switch ADC inputs
      HAL_GPIO_WritePin(GPIOB,GPIO_PIN_2 | GPIO_PIN_10,GPIO_PIN_RESET);
      notelim = notectr + RELAYDELAY;
      state = 2;

    case 2:
      if ((int)(notectr - notelim) < 0) break;
      state = 0;
      break;

  }

 }
  }
  /* USER CODE END 5 */
}

void HAL_TIM_PeriodElapsedCallback(TIM_HandleTypeDef *htim)
{
  if (htim->Instance == TIM15) {
    HAL_IncTick();
  }
}

void Error_Handler(void)
{
  __disable_irq();
  while (1)
  {
  }
}

/************************ (C) COPYRIGHT STMicroelectronics *****END OF FILE****/
